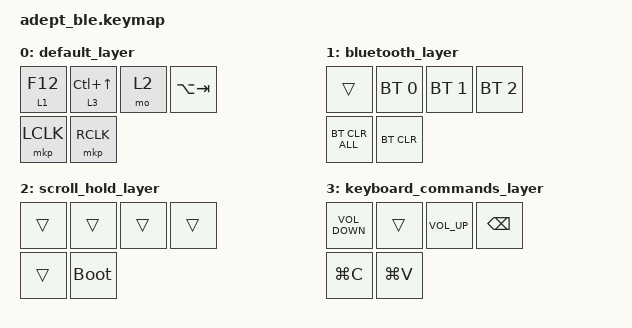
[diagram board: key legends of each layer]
#include <behaviors/mouse_keys.dtsi>
#include <dt-bindings/zmk/mouse.h>
#include <behaviors.dtsi>
#include <dt-bindings/zmk/bt.h>
#include <dt-bindings/zmk/keys.h>

/ {
    combos { compatible = "zmk,combos"; };

    behaviors {
        lhm: layer-hold-or-mouse {
            compatible = "zmk,behavior-hold-tap";
            #binding-cells = <2>;
            flavor = "hold-preferred";
            hold-while-undecided;
            tapping-term-ms = <150>;
            bindings = <&mo>, <&mkp>;
        };

        slm: sticky-layer-or-mouse {
            compatible = "zmk,behavior-tap-dance";
            #binding-cells = <0>;
            tapping-term-ms = <150>;
            bindings = <&mkp RCLK>, <&sl 1>;
        };

        lhk: layer-hold-or-keypress {
            compatible = "zmk,behavior-hold-tap";
            #binding-cells = <2>;
            flavor = "tap-preferred";
            tapping-term-ms = <200>;
            bindings = <&mo>, <&kp>;

            quick-tap-ms = <200>;
        };

        mouse_keys: mouse_keys {
            compatible = "zmk,behavior-tap-dance";
            label = "MOUSE_KEYS";
            #binding-cells = <0>;
            bindings = <&mkp LCLK>, <&mkp RCLK>;
        };
    };

    keymap {
        compatible = "zmk,keymap";

        default_layer {
            bindings = <
&lhk 1 F12   &lhk 3 LC(UP_ARROW)  &mo 2  &kp LA(TAB)
&mkp LCLK    &mkp RCLK
            >;
        };

        bluetooth_layer {
            bindings = <
&trans          &bt BT_SEL 0  &bt BT_SEL 1  &bt BT_SEL 2
&bt BT_CLR_ALL  &bt BT_CLR
            >;
        };

        scroll_hold_layer {
            bindings = <
&trans  &trans       &trans  &trans
&trans  &bootloader
            >;
        };

        keyboard_commands_layer {
            bindings = <
&kp C_VOLUME_DOWN  &trans     &kp C_VOLUME_UP  &kp BSPC
&kp LG(C)          &kp LG(V)
            >;
        };
    };
};
